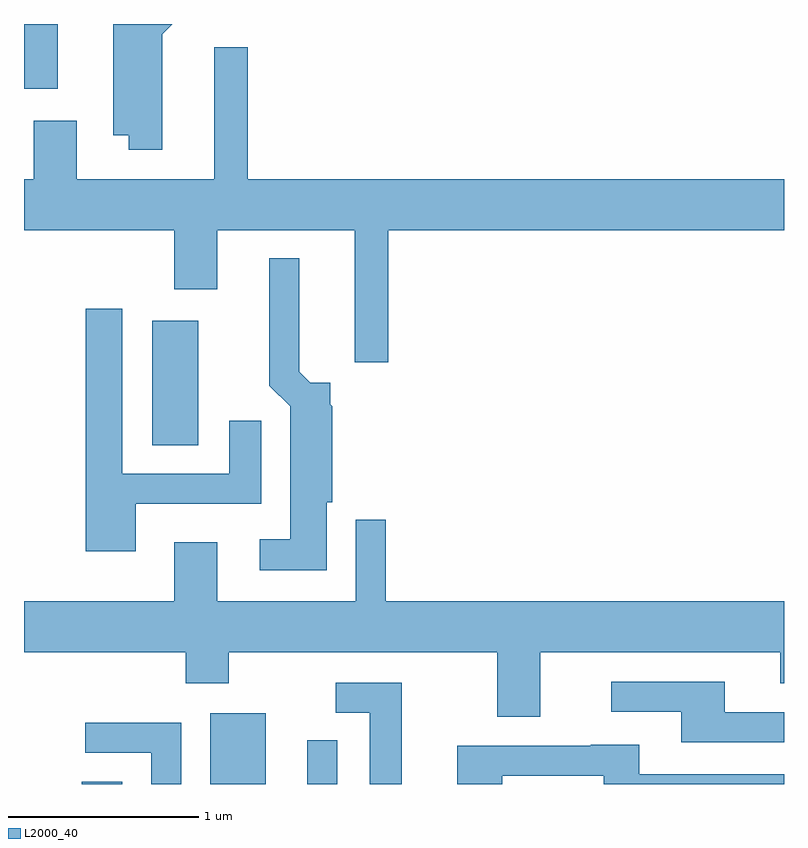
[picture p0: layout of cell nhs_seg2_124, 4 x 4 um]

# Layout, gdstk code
import gdstk
lib = gdstk.Library(unit=1e-6, precision=1e-09)
def R(c, l, rs):  # rectangles x0, y0, x1, y1
    for r in rs: c.add(gdstk.rectangle(r[:2], r[2:], *l))
def P(c, l, *ps):  # polygons
    for p in ps: c.add(gdstk.Polygon(p, *l))
L2000_40 = (2000, 40)

nhs_seg2_124 = lib.new_cell('nhs_seg2_124')
R(nhs_seg2_124, L2000_40, [(187.916,1089.802,188.129,1089.814), (188.591,1089.802,188.884,1090.174), (189.101,1089.802,189.259,1090.033), (188.286,1091.586,188.529,1092.239), (187.611,1093.461,187.789,1093.802)])
P(nhs_seg2_124, L2000_40, [(188.339,1093.749),(188.392,1093.802),(188.081,1093.802),(188.081,1093.216),(188.161,1093.216),(188.161,1093.141),(188.339,1093.141)],
  [(189.529,1092.716),(191.611,1092.716),(191.611,1092.984),(188.789,1092.984),(188.789,1093.679),(188.611,1093.679),(188.611,1092.984),(187.889,1092.984),(187.889,1093.294),(187.661,1093.294),(187.661,1092.984),(187.611,1092.984),(187.611,1092.716),(188.401,1092.716),(188.401,1092.406),(188.629,1092.406),(188.629,1092.716),(189.351,1092.716),(189.351,1092.021),(189.529,1092.021)],
  [(189.204,1091.286),(189.234,1091.286),(189.234,1091.791),(189.224,1091.801),(189.224,1091.914),(189.117,1091.914),(189.059,1091.972),(189.059,1092.568),(188.901,1092.568),(188.901,1091.899),(189.011,1091.789),(189.011,1091.089),(188.853,1091.089),(188.853,1090.926),(189.204,1090.926)],
  [(188.199,1091.276),(188.859,1091.276),(188.859,1091.713),(188.691,1091.713),(188.691,1091.434),(188.129,1091.434),(188.129,1092.304),(187.936,1092.304),(187.936,1091.026),(188.199,1091.026)],
  [(190.329,1090.496),(191.591,1090.496),(191.591,1090.331),(191.611,1090.331),(191.611,1090.764),(189.514,1090.764),(189.514,1091.193),(189.356,1091.193),(189.356,1090.764),(188.629,1090.764),(188.629,1091.074),(188.401,1091.074),(188.401,1090.764),(187.611,1090.764),(187.611,1090.496),(188.461,1090.496),(188.461,1090.331),(188.689,1090.331),(188.689,1090.496),(190.101,1090.496),(190.101,1090.156),(190.329,1090.156)],
  [(191.611,1090.179),(191.299,1090.179),(191.299,1090.339),(190.703,1090.339),(190.703,1090.181),(191.071,1090.181),(191.071,1090.021),(191.611,1090.021)],
  [(189.599,1090.334),(189.253,1090.334),(189.253,1090.176),(189.431,1090.176),(189.431,1089.802),(189.599,1089.802)],
  [(188.439,1090.124),(187.933,1090.124),(187.933,1089.966),(188.281,1089.966),(188.281,1089.802),(188.439,1089.802)],
  [(190.129,1089.846),(190.661,1089.846),(190.661,1089.802),(191.611,1089.802),(191.611,1089.854),(190.849,1089.854),(190.849,1090.009),(190.595,1090.009),(190.595,1090.004),(189.891,1090.004),(189.891,1089.802),(190.129,1089.802)])

lib.write_gds('nhs_seg2_124.gds')
